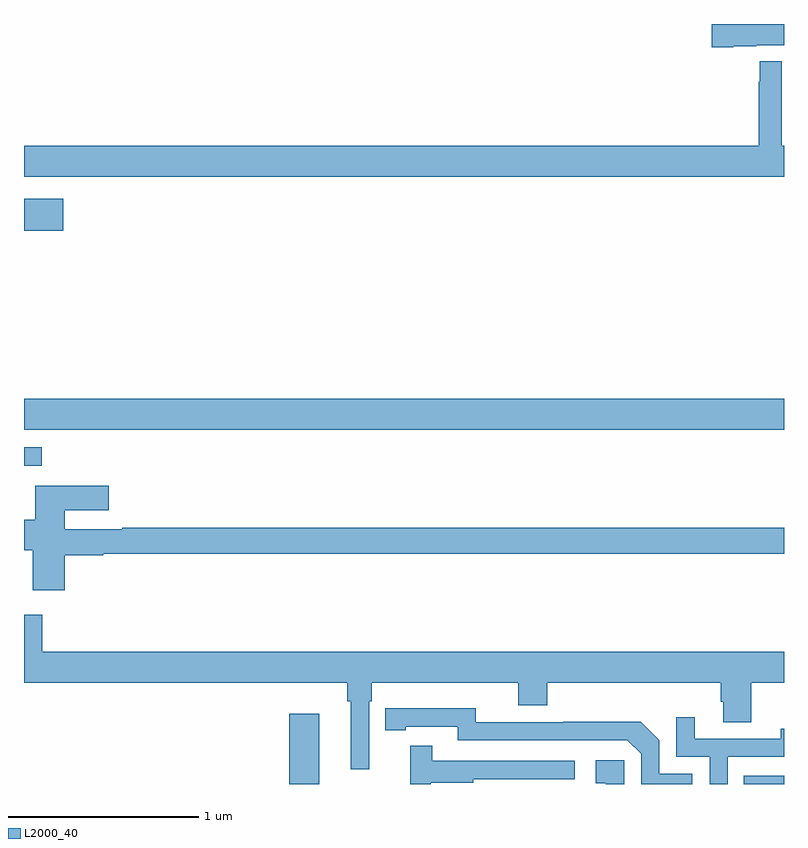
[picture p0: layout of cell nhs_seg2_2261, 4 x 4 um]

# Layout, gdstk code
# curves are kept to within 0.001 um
import gdstk
lib = gdstk.Library(unit=1e-6, precision=1e-09)
def R(c, l, rs):  # rectangles x0, y0, x1, y1
    for r in rs: c.add(gdstk.rectangle(r[:2], r[2:], *l))
def P(c, l, *ps):  # polygons
    for p in ps: c.add(gdstk.Polygon(p, *l))
L2000_40 = (2000, 40)

nhs_seg2_2261 = lib.new_cell('nhs_seg2_2261')
R(nhs_seg2_2261, L2000_40, [(230.396,617.8,230.554,618.169), (232.789,617.8,233,617.844), (229,619.476,229.093,619.572), (229,619.664,233,619.828), (229,620.711,229.207,620.881)])
P(nhs_seg2_2261, L2000_40, [(232.732,621.683),(232.854,621.683),(232.854,621.689),(233,621.689),(233,621.8),(232.62,621.8),(232.62,621.677),(232.732,621.677)],
  [(233,621.16),(232.987,621.16),(232.987,621.604),(232.873,621.604),(232.873,621.497),(232.866,621.497),(232.866,621.16),(229,621.16),(229,620.996),(233,620.996)],
  [(229.214,619.004),(229.416,619.004),(229.416,619.012),(233,619.012),(233,619.148),(229.516,619.148),(229.516,619.141),(229.214,619.141),(229.214,619.241),(229.447,619.241),(229.447,619.371),(229.058,619.371),(229.058,619.192),(229,619.192),(229,619.03),(229.046,619.03),(229.046,618.819),(229.214,618.819)],
  [(230.817,618.236),(230.831,618.236),(230.831,618.332),(231.602,618.332),(231.602,618.215),(231.755,618.215),(231.755,618.332),(232.667,618.332),(232.667,618.234),(232.679,618.234),(232.679,618.124),(232.827,618.124),(232.827,618.332),(233,618.332),(233,618.496),(229.097,618.496),(229.097,618.691),(229,618.691),(229,618.332),(230.701,618.332),(230.701,618.236),(230.72,618.236),(230.72,617.877),(230.817,617.877)],
  [(232.518,617.853),(232.344,617.853),(232.344,618.03),(232.246,618.128),(231.838,618.128),(231.838,618.126),(231.378,618.126),(231.378,618.199),(230.902,618.198),(230.902,618.082),(231.01,618.082),(231.01,618.102),(231.282,618.102),(231.282,618.03),(232.176,618.03),(232.248,617.958),(232.248,617.8),(232.518,617.8)],
  [(232.704,617.943),(233,617.943),(233,618.091),(232.982,618.091),(232.982,618.039),(232.531,618.039),(232.531,618.151),(232.434,618.151),(232.434,617.943),(232.608,617.943),(232.608,617.8),(232.704,617.8)],
  [(231.142,617.806),(231.365,617.806),(231.365,617.826),(231.898,617.826),(231.898,617.922),(231.149,617.922),(231.149,618.001),(231.032,618.001),(231.032,617.8),(231.142,617.8)],
  [(232.158,617.926),(232.008,617.926),(232.008,617.805),(232.061,617.805),(232.061,617.8),(232.158,617.8)])

lib.write_gds('nhs_seg2_2261.gds')
